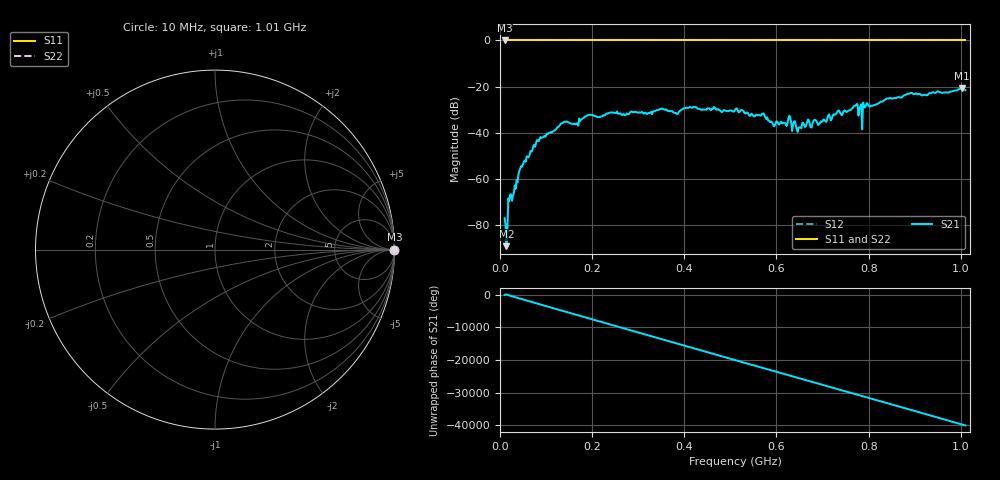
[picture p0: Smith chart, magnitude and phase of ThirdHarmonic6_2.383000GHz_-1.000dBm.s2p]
! 8/17/2025 3:48:47 AM
! C:\ANRITSUVNA\TEMP\TEMP.S2P
! CHANNEL.1
! TR.MEASUREMENT
! RAW.DATA
! RF.CORRECTION.OFF
! AVERAGING.OFF
! IF.BANDWIDTH: 5KHZ
! SWEEPTYPE:  FREQ.SWEEP(Linear)
! Reference Plane Port Info
! PORT:  PORT1  PORT2
! DISTANCE:  0  m  0  m
! TIME:  0  s  0  s
! PHASE.OFFSET:  0  deg.  0  deg.
! LOSS:  0  dB  0  dB
! REF.LOSS:  0  dB  0  dB
! REF.FREQ:  0  Hz  0  Hz
! Power Info
! POWER:  -20  dBm  -20  dBm
! EFF.POWER:  -20  dBm  -20  dBm
! SOURCE.ATTEN:  0  dB  0  dB
! TEST.ATTEN:  0  dB  0  dB
# GHZ S RI R 50.0
! FREQ.GHZ  S11RE  S11IM  S21RE  S21IM  S12RE  S12IM  S22RE  S22IM
!; PortSelection: Port_12
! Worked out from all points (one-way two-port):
!   501 points, 10 MHz to 1.01 GHz, reference 50 ohm
!   highest |S21| = -20.60 dB at 1.002 GHz (marker M1); lowest = -89.1 dB at 14 MHz (marker M2)
!   lowest |S11| = 0.0 dB at 10 MHz (marker M3)
!   |S11| at or under -10 dB: nowhere
!   |S22| runs from 0.0 to 0.0 dB; largest |S21 - S12| = 1.1
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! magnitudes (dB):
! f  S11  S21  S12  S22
! 10 MHz  0.0  -77.0  0.0  0.0
! 14 MHz  0.0  -89.1  0.0  0.0
! 22 MHz  0.0  -66.6  0.0  0.0
! 30 MHz  0.0  -66.3  0.0  0.0
! 44 MHz  0.0  -55.5  0.0  0.0
! 84 MHz  0.0  -43.6  0.0  0.0
! 136 MHz  0.0  -35.8  0.0  0.0
! 166 MHz  0.0  -36.0  0.0  0.0
! 178 MHz  0.0  -34.0  0.0  0.0
! 344 MHz  0.0  -30.1  0.0  0.0
! 510 MHz  0.0  -30.2  0.0  0.0
! 570 MHz  0.0  -31.7  0.0  0.0
! 594 MHz  0.0  -37.1  0.0  0.0
! 628 MHz  0.0  -32.6  0.0  0.0
! 648 MHz  0.0  -37.7  0.0  0.0
! 678 MHz  0.0  -36.1  0.0  0.0
! 772 MHz  0.0  -28.1  0.0  0.0
! 782 MHz  0.0  -28.6  0.0  0.0
! 792 MHz  0.0  -29.1  0.0  0.0
! 844 MHz  0.0  -25.1  0.0  0.0
! 1.002 GHz  0.0  -20.6  0.0  0.0
! 1.01 GHz  0.0  -21.5  0.0  0.0
